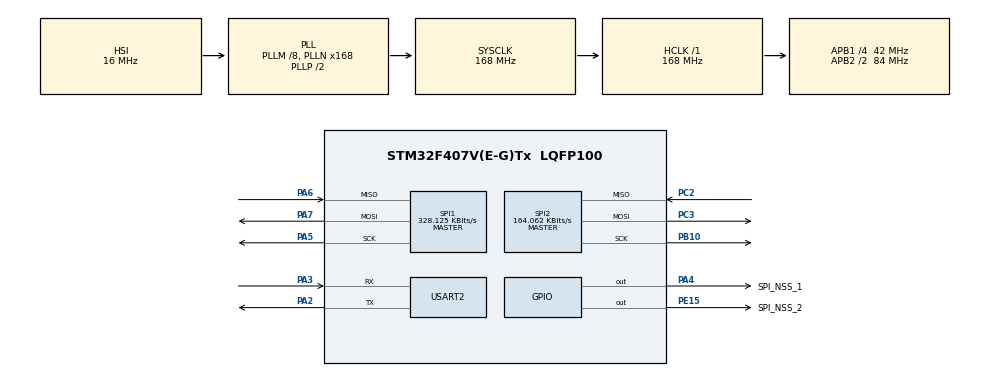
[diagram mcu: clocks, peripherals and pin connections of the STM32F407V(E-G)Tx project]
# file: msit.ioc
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Dma.Request0=USART2_RX
Dma.Request1=USART2_TX
Dma.USART2_RX.0.Direction=DMA_PERIPH_TO_MEMORY
Dma.USART2_RX.0.FIFOMode=DMA_FIFOMODE_DISABLE
Dma.USART2_RX.0.Instance=DMA1_Stream5
Dma.USART2_RX.0.MemDataAlignment=DMA_MDATAALIGN_BYTE
Dma.USART2_RX.0.MemInc=DMA_MINC_ENABLE
Dma.USART2_RX.0.Mode=DMA_NORMAL
Dma.USART2_RX.0.PeriphDataAlignment=DMA_PDATAALIGN_BYTE
Dma.USART2_RX.0.PeriphInc=DMA_PINC_DISABLE
Dma.USART2_RX.0.Priority=DMA_PRIORITY_MEDIUM
Dma.USART2_TX.1.Direction=DMA_MEMORY_TO_PERIPH
Dma.USART2_TX.1.FIFOMode=DMA_FIFOMODE_DISABLE
Dma.USART2_TX.1.Instance=DMA1_Stream6
Dma.USART2_TX.1.MemDataAlignment=DMA_MDATAALIGN_BYTE
Dma.USART2_TX.1.MemInc=DMA_MINC_ENABLE
Dma.USART2_TX.1.Mode=DMA_NORMAL
Dma.USART2_TX.1.PeriphDataAlignment=DMA_PDATAALIGN_BYTE
Dma.USART2_TX.1.PeriphInc=DMA_PINC_DISABLE
Dma.USART2_TX.1.Priority=DMA_PRIORITY_MEDIUM
Mcu.Family=STM32F4
Mcu.Name=STM32F407V(E-G)Tx
Mcu.Package=LQFP100
NVIC.DMA1_Stream5_IRQn=true\:0\:0\:false\:false\:true\:false\:true\:true
NVIC.DMA1_Stream6_IRQn=true\:0\:0\:false\:false\:true\:false\:true\:true
NVIC.PriorityGroup=NVIC_PRIORITYGROUP_4
NVIC.SPI2_IRQn=true\:0\:0\:false\:false\:true\:true\:true\:true
NVIC.USART2_IRQn=true\:0\:0\:false\:false\:true\:true\:true\:true
PA13.Mode=Serial_Wire
PA13.Signal=SYS_JTMS-SWDIO
PA14.Mode=Serial_Wire
PA14.Signal=SYS_JTCK-SWCLK
PA2.Mode=Asynchronous
PA2.Signal=USART2_TX
PA3.Mode=Asynchronous
PA3.Signal=USART2_RX
PA4.GPIO_Label=SPI_NSS_1
PA4.Signal=GPIO_Output
PA5.Mode=Full_Duplex_Master
PA5.Signal=SPI1_SCK
PA6.Mode=Full_Duplex_Master
PA6.Signal=SPI1_MISO
PA7.Mode=Full_Duplex_Master
PA7.Signal=SPI1_MOSI
PB10.Mode=Full_Duplex_Master
PB10.Signal=SPI2_SCK
PC2.Mode=Full_Duplex_Master
PC2.Signal=SPI2_MISO
PC3.Mode=Full_Duplex_Master
PC3.Signal=SPI2_MOSI
PE15.GPIO_Label=SPI_NSS_2
PE15.Signal=GPIO_Output
PH0-OSC_IN.Mode=HSE-External-Oscillator
PH0-OSC_IN.Signal=RCC_OSC_IN
PH1-OSC_OUT.Mode=HSE-External-Oscillator
PH1-OSC_OUT.Signal=RCC_OSC_OUT
ProjectManager.HeapSize=0x200
ProjectManager.StackSize=0x400
ProjectManager.TargetToolchain=STM32CubeIDE
RCC.48MHZClocksFreq_Value=84000000
RCC.AHBFreq_Value=168000000
RCC.APB1CLKDivider=RCC_HCLK_DIV4
RCC.APB1Freq_Value=42000000
RCC.APB1TimFreq_Value=84000000
RCC.APB2CLKDivider=RCC_HCLK_DIV2
RCC.APB2Freq_Value=84000000
RCC.APB2TimFreq_Value=168000000
RCC.CortexFreq_Value=168000000
RCC.HCLKFreq_Value=168000000
RCC.HSE_VALUE=25000000
RCC.HSI_VALUE=16000000
RCC.LSE_VALUE=32768
RCC.PLLM=8
RCC.PLLN=168
RCC.SYSCLKFreq_VALUE=168000000
RCC.SYSCLKSource=RCC_SYSCLKSOURCE_PLLCLK
RCC.VCOOutputFreq_Value=336000000
SPI1.BaudRatePrescaler=SPI_BAUDRATEPRESCALER_256
SPI1.CalculateBaudRate=328.125 KBits/s
SPI1.Direction=SPI_DIRECTION_2LINES
SPI1.Mode=SPI_MODE_MASTER
SPI1.VirtualType=VM_MASTER
SPI2.BaudRatePrescaler=SPI_BAUDRATEPRESCALER_256
SPI2.CalculateBaudRate=164.062 KBits/s
SPI2.Direction=SPI_DIRECTION_2LINES
SPI2.Mode=SPI_MODE_MASTER
SPI2.VirtualType=VM_MASTER
USART2.VirtualMode=VM_ASYNC
VP_CRC_VS_CRC.Mode=CRC_Activate
board=custom

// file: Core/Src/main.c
/* USER CODE BEGIN Header */
/**
 ******************************************************************************
 * @file           : main.c
 * @brief          : Main program body
 ******************************************************************************
 * @attention
 *
 * Copyright (c) 2023 STMicroelectronics.
 * All rights reserved.
 *
 * This software is licensed under terms that can be found in the LICENSE file
 * in the root directory of this software component.
 * If no LICENSE file comes with this software, it is provided AS-IS.
 *
 ******************************************************************************
 */
/* USER CODE END Header */
#include "main.h"

/* USER CODE BEGIN Includes */
#include "stdlib.h"
#include "string.h"

/* USER CODE END Includes */

/* USER CODE BEGIN PD */
#define TIMEOUT 10
/* USER CODE END PD */

CRC_HandleTypeDef hcrc;

SPI_HandleTypeDef hspi1;
SPI_HandleTypeDef hspi2;

UART_HandleTypeDef huart2;
DMA_HandleTypeDef hdma_usart2_rx;
DMA_HandleTypeDef hdma_usart2_tx;

/* USER CODE BEGIN PV */
int32_t spi_transmit_2[6], spi_receive_2[6];
uint8_t spi_flag_2;

int32_t spi_transmit_1[6], spi_receive_1[6];
uint8_t spi_flag_1;
uint32_t counter;

int32_t number_1[6];
int32_t number_2[6];

uint32_t spi_timeout_1, spi_timeout_2;
uint8_t spi_timeout_enable_1, spi_timeout_enable_2;

uint8_t uart_ready;
int32_t uart_buffer[6];
/* USER CODE END PV */

void SystemClock_Config(void);
static void MX_GPIO_Init(void);
static void MX_DMA_Init(void);
static void MX_USART2_UART_Init(void);
static void MX_SPI2_Init(void);
static void MX_CRC_Init(void);
static void MX_SPI1_Init(void);

/* USER CODE BEGIN 0 */
void HAL_SPI_TxRxCpltCallback(SPI_HandleTypeDef *hspi) {
	if (hspi->Instance == SPI1) {
		spi_timeout_enable_1 = 0;
		if (HAL_SPI_GetError(&hspi1) != HAL_SPI_ERROR_NONE) {
			spi_flag_1 = 2;
			HAL_GPIO_WritePin(SPI_NSS_1_GPIO_Port, SPI_NSS_1_Pin, RESET);
		} else {
			spi_flag_1 = 0;
			HAL_GPIO_WritePin(SPI_NSS_1_GPIO_Port, SPI_NSS_1_Pin, RESET);
			asm("nop");
		}
	}
}
/* USER CODE END 0 */

int main(void) {

	/* MCU Configuration--------------------------------------------------------*/

	/* Reset of all peripherals, Initializes the Flash interface and the Systick. */
	HAL_Init();

	/* Configure the system clock */
	SystemClock_Config();

	/* Initialize all configured peripherals */
	MX_GPIO_Init();
	MX_DMA_Init();
	MX_USART2_UART_Init();
	MX_SPI2_Init();
	MX_CRC_Init();
	MX_SPI1_Init();
	/* USER CODE BEGIN 2 */
	spi_timeout_enable_2 = 0;
	spi_timeout_enable_1 = 0;
	uart_ready = 0;
	/* USER CODE END 2 */

	/* Infinite loop */
	/* USER CODE BEGIN WHILE */
	while (1) {
		if ((spi_timeout_enable_1)
				&& ((HAL_GetTick() - spi_timeout_1) > TIMEOUT)) {
			HAL_GPIO_WritePin(SPI_NSS_1_GPIO_Port, SPI_NSS_1_Pin, RESET);
			HAL_SPI_Abort_IT(&hspi1);
			spi_timeout_enable_1 = 0;

			spi_flag_1 = 0;
		}
		if (spi_flag_1 == 0) {

			spi_timeout_1 = HAL_GetTick();
			spi_timeout_enable_1 = 1;

			HAL_GPIO_WritePin(SPI_NSS_1_GPIO_Port, SPI_NSS_1_Pin, SET);

			HAL_Delay(1);

			HAL_SPI_TransmitReceive_IT(&hspi1, (uint8_t*) (spi_transmit_1),
					(uint8_t*) (spi_receive_1), 24);
			spi_flag_1 = 1;
		}
		if (spi_flag_1 == 2) {
			memset((void*) spi_receive_1, 0, 24);
			spi_flag_1 = 0;
		}

//		counter++;
//		if (counter > 4500) {
//			HAL_UART_Transmit_IT(&huart2, (uint8_t*) (uart_buffer), 24);
//
//			counter = 0;
		/* USER CODE END WHILE */

	}
}

void SystemClock_Config(void) {
	RCC_OscInitTypeDef RCC_OscInitStruct = { 0 };
	RCC_ClkInitTypeDef RCC_ClkInitStruct = { 0 };

	/** Configure the main internal regulator output voltage
	 */
	__HAL_RCC_PWR_CLK_ENABLE();
	__HAL_PWR_VOLTAGESCALING_CONFIG(PWR_REGULATOR_VOLTAGE_SCALE1);

	/** Initializes the RCC Oscillators according to the specified parameters
	 * in the RCC_OscInitTypeDef structure.
	 */
	RCC_OscInitStruct.OscillatorType = RCC_OSCILLATORTYPE_HSI;
	RCC_OscInitStruct.HSIState = RCC_HSI_ON;
	RCC_OscInitStruct.HSICalibrationValue = RCC_HSICALIBRATION_DEFAULT;
	RCC_OscInitStruct.PLL.PLLState = RCC_PLL_ON;
	RCC_OscInitStruct.PLL.PLLSource = RCC_PLLSOURCE_HSI;
	RCC_OscInitStruct.PLL.PLLM = 8;
	RCC_OscInitStruct.PLL.PLLN = 168;
	RCC_OscInitStruct.PLL.PLLP = RCC_PLLP_DIV2;
	RCC_OscInitStruct.PLL.PLLQ = 4;
	if (HAL_RCC_OscConfig(&RCC_OscInitStruct) != HAL_OK) {
		Error_Handler();
	}

	/** Initializes the CPU, AHB and APB buses clocks
	 */
	RCC_ClkInitStruct.ClockType = RCC_CLOCKTYPE_HCLK | RCC_CLOCKTYPE_SYSCLK
			| RCC_CLOCKTYPE_PCLK1 | RCC_CLOCKTYPE_PCLK2;
	RCC_ClkInitStruct.SYSCLKSource = RCC_SYSCLKSOURCE_PLLCLK;
	RCC_ClkInitStruct.AHBCLKDivider = RCC_SYSCLK_DIV1;
	RCC_ClkInitStruct.APB1CLKDivider = RCC_HCLK_DIV4;
	RCC_ClkInitStruct.APB2CLKDivider = RCC_HCLK_DIV2;

	if (HAL_RCC_ClockConfig(&RCC_ClkInitStruct, FLASH_LATENCY_5) != HAL_OK) {
		Error_Handler();
	}
}

static void MX_CRC_Init(void) {

	hcrc.Instance = CRC;
	if (HAL_CRC_Init(&hcrc) != HAL_OK) {
		Error_Handler();
	}

}

static void MX_SPI1_Init(void) {

	/* SPI1 parameter configuration*/
	hspi1.Instance = SPI1;
	hspi1.Init.Mode = SPI_MODE_MASTER;
	hspi1.Init.Direction = SPI_DIRECTION_2LINES;
	hspi1.Init.DataSize = SPI_DATASIZE_8BIT;
	hspi1.Init.CLKPolarity = SPI_POLARITY_LOW;
	hspi1.Init.CLKPhase = SPI_PHASE_1EDGE;
	hspi1.Init.NSS = SPI_NSS_SOFT;
	hspi1.Init.BaudRatePrescaler = SPI_BAUDRATEPRESCALER_256;
	hspi1.Init.FirstBit = SPI_FIRSTBIT_MSB;
	hspi1.Init.TIMode = SPI_TIMODE_DISABLE;
	hspi1.Init.CRCCalculation = SPI_CRCCALCULATION_ENABLE;
	hspi1.Init.CRCPolynomial = 10;
	if (HAL_SPI_Init(&hspi1) != HAL_OK) {
		Error_Handler();
	}

}

static void MX_SPI2_Init(void) {

	/* SPI2 parameter configuration*/
	hspi2.Instance = SPI2;
	hspi2.Init.Mode = SPI_MODE_MASTER;
	hspi2.Init.Direction = SPI_DIRECTION_2LINES;
	hspi2.Init.DataSize = SPI_DATASIZE_8BIT;
	hspi2.Init.CLKPolarity = SPI_POLARITY_LOW;
	hspi2.Init.CLKPhase = SPI_PHASE_1EDGE;
	hspi2.Init.NSS = SPI_NSS_SOFT;
	hspi2.Init.BaudRatePrescaler = SPI_BAUDRATEPRESCALER_256;
	hspi2.Init.FirstBit = SPI_FIRSTBIT_MSB;
	hspi2.Init.TIMode = SPI_TIMODE_DISABLE;
	hspi2.Init.CRCCalculation = SPI_CRCCALCULATION_ENABLE;
	hspi2.Init.CRCPolynomial = 10;
	if (HAL_SPI_Init(&hspi2) != HAL_OK) {
		Error_Handler();
	}

}

static void MX_USART2_UART_Init(void) {

	huart2.Instance = USART2;
	huart2.Init.BaudRate = 115200;
	huart2.Init.WordLength = UART_WORDLENGTH_8B;
	huart2.Init.StopBits = UART_STOPBITS_1;
	huart2.Init.Parity = UART_PARITY_NONE;
	huart2.Init.Mode = UART_MODE_TX_RX;
	huart2.Init.HwFlowCtl = UART_HWCONTROL_NONE;
	huart2.Init.OverSampling = UART_OVERSAMPLING_16;
	if (HAL_UART_Init(&huart2) != HAL_OK) {
		Error_Handler();
	}

}

static void MX_DMA_Init(void) {

	/* DMA controller clock enable */
	__HAL_RCC_DMA1_CLK_ENABLE();

	/* DMA interrupt init */
	/* DMA1_Stream5_IRQn interrupt configuration */
	HAL_NVIC_SetPriority(DMA1_Stream5_IRQn, 0, 0);
	HAL_NVIC_EnableIRQ(DMA1_Stream5_IRQn);
	/* DMA1_Stream6_IRQn interrupt configuration */
	HAL_NVIC_SetPriority(DMA1_Stream6_IRQn, 0, 0);
	HAL_NVIC_EnableIRQ(DMA1_Stream6_IRQn);

}

static void MX_GPIO_Init(void) {
	GPIO_InitTypeDef GPIO_InitStruct = { 0 };

	/* GPIO Ports Clock Enable */
	__HAL_RCC_GPIOH_CLK_ENABLE();
	__HAL_RCC_GPIOC_CLK_ENABLE();
	__HAL_RCC_GPIOA_CLK_ENABLE();
	__HAL_RCC_GPIOE_CLK_ENABLE();
	__HAL_RCC_GPIOB_CLK_ENABLE();

	/*Configure GPIO pin Output Level */
	HAL_GPIO_WritePin(SPI_NSS_1_GPIO_Port, SPI_NSS_1_Pin, GPIO_PIN_RESET);

	/*Configure GPIO pin Output Level */
	HAL_GPIO_WritePin(SPI_NSS_2_GPIO_Port, SPI_NSS_2_Pin, GPIO_PIN_RESET);

	/*Configure GPIO pin : SPI_NSS_1_Pin */
	GPIO_InitStruct.Pin = SPI_NSS_1_Pin;
	GPIO_InitStruct.Mode = GPIO_MODE_OUTPUT_PP;
	GPIO_InitStruct.Pull = GPIO_NOPULL;
	GPIO_InitStruct.Speed = GPIO_SPEED_FREQ_LOW;
	HAL_GPIO_Init(SPI_NSS_1_GPIO_Port, &GPIO_InitStruct);

	/*Configure GPIO pin : SPI_NSS_2_Pin */
	GPIO_InitStruct.Pin = SPI_NSS_2_Pin;
	GPIO_InitStruct.Mode = GPIO_MODE_OUTPUT_PP;
	GPIO_InitStruct.Pull = GPIO_NOPULL;
	GPIO_InitStruct.Speed = GPIO_SPEED_FREQ_LOW;
	HAL_GPIO_Init(SPI_NSS_2_GPIO_Port, &GPIO_InitStruct);

}

void Error_Handler(void) {
	__disable_irq();
	while (1) {
	}
}
